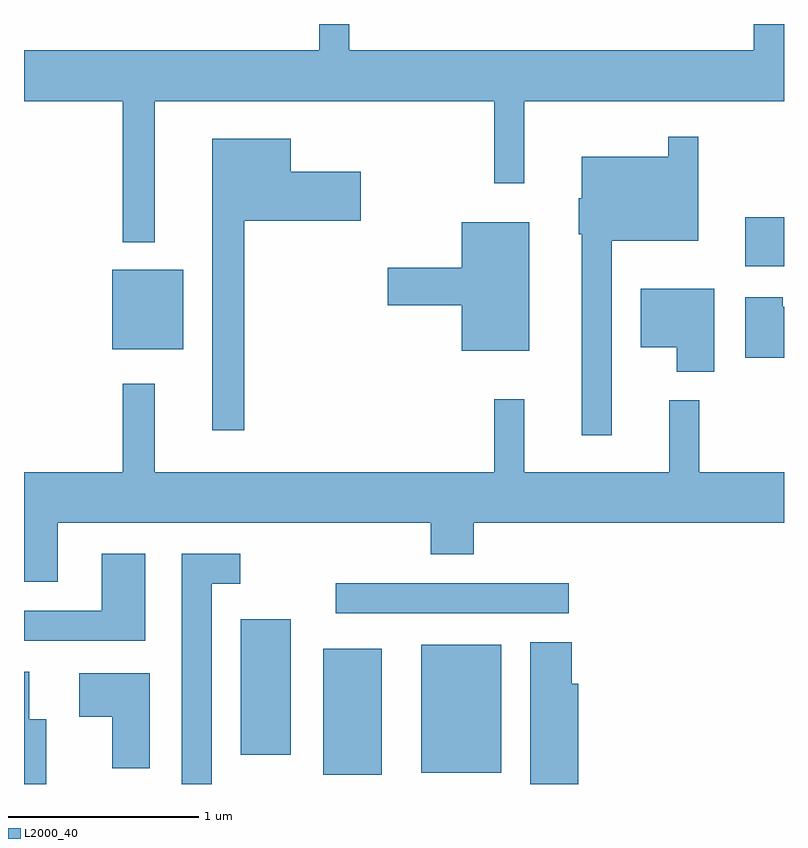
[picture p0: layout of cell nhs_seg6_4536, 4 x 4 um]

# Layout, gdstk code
import gdstk
lib = gdstk.Library(unit=1e-6, precision=1e-09)
def R(c, l, rs):  # rectangles x0, y0, x1, y1
    for r in rs: c.add(gdstk.rectangle(r[:2], r[2:], *l))
def P(c, l, *ps):  # polygons
    for p in ps: c.add(gdstk.Polygon(p, *l))
L2000_40 = (2000, 40)

nhs_seg6_4536 = lib.new_cell('nhs_seg6_4536')
R(nhs_seg6_4536, L2000_40, [(325.186,1604.211,325.494,1604.874), (325.701,1604.221,326.124,1604.894), (324.751,1604.316,325.014,1605.029), (325.253,1605.061,326.478,1605.219), (324.076,1606.451,324.449,1606.869), (327.406,1606.886,327.611,1607.144)])
P(nhs_seg6_4536, L2000_40, [(324.299,1607.756),(326.086,1607.756),(326.086,1607.323),(326.244,1607.323),(326.244,1607.756),(327.611,1607.756),(327.611,1608.162),(327.451,1608.162),(327.451,1608.024),(325.324,1608.024),(325.324,1608.162),(325.166,1608.162),(325.166,1608.024),(323.611,1608.024),(323.611,1607.756),(324.131,1607.756),(324.131,1607.013),(324.299,1607.013)],
  [(326.704,1607.021),(327.159,1607.021),(327.159,1607.568),(327.001,1607.568),(327.001,1607.464),(326.546,1607.464),(326.546,1607.245),(326.531,1607.245),(326.531,1607.055),(326.546,1607.055),(326.546,1605.998),(326.704,1605.998)],
  [(324.769,1607.126),(325.384,1607.126),(325.384,1607.384),(325.014,1607.384),(325.014,1607.559),(324.601,1607.559),(324.601,1606.023),(324.769,1606.023)],
  [(326.269,1607.119),(325.916,1607.119),(325.916,1606.879),(325.526,1606.879),(325.526,1606.681),(325.916,1606.681),(325.916,1606.441),(326.269,1606.441)],
  [(327.244,1606.769),(326.856,1606.769),(326.856,1606.461),(327.046,1606.461),(327.046,1606.331),(327.244,1606.331)],
  [(327.611,1606.674),(327.604,1606.674),(327.604,1606.724),(327.406,1606.724),(327.406,1606.406),(327.611,1606.406)],
  [(323.789,1605.536),(325.751,1605.536),(325.751,1605.371),(325.979,1605.371),(325.979,1605.536),(327.611,1605.536),(327.611,1605.804),(327.164,1605.804),(327.164,1606.183),(327.006,1606.183),(327.006,1605.804),(326.244,1605.804),(326.244,1606.188),(326.086,1606.188),(326.086,1605.804),(324.299,1605.804),(324.299,1606.268),(324.131,1606.268),(324.131,1605.804),(323.611,1605.804),(323.611,1605.226),(323.789,1605.226)],
  [(324.599,1605.216),(324.748,1605.216),(324.748,1605.374),(324.441,1605.374),(324.441,1604.162),(324.599,1604.162)],
  [(324.249,1605.374),(324.021,1605.374),(324.021,1605.074),(323.611,1605.074),(323.611,1604.916),(324.249,1604.916)],
  [(326.529,1604.689),(326.494,1604.689),(326.494,1604.909),(326.276,1604.909),(326.276,1604.162),(326.529,1604.162)],
  [(323.729,1604.504),(323.639,1604.504),(323.639,1604.753),(323.611,1604.753),(323.611,1604.162),(323.729,1604.162)],
  [(324.274,1604.744),(323.901,1604.744),(323.901,1604.516),(324.076,1604.516),(324.076,1604.246),(324.274,1604.246)])

lib.write_gds('nhs_seg6_4536.gds')
